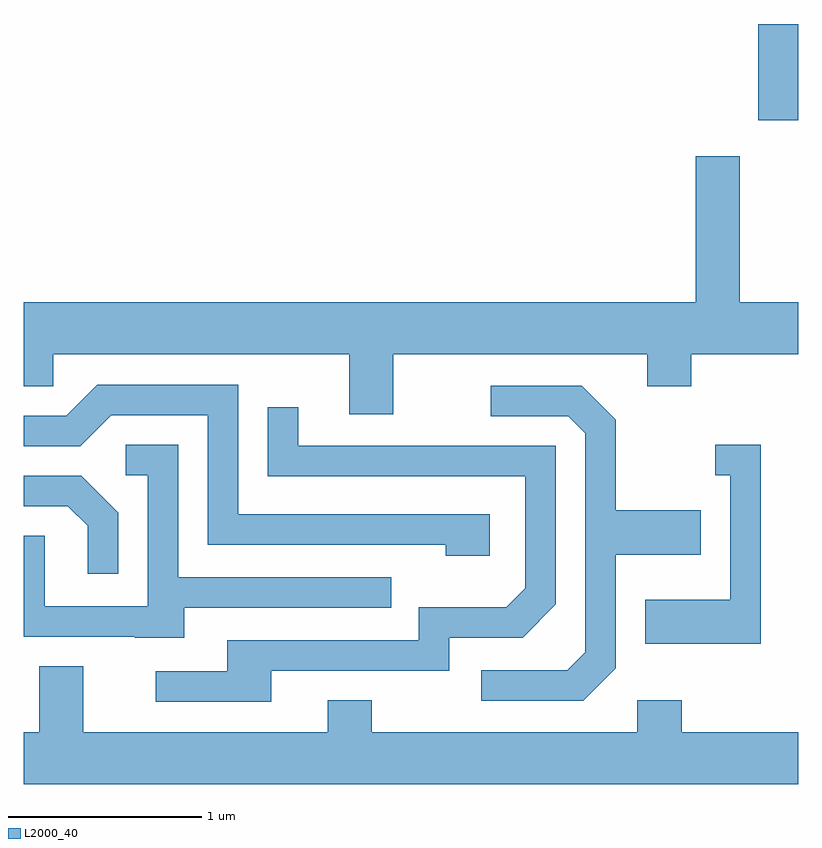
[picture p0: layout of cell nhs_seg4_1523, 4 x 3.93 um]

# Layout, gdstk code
import gdstk
lib = gdstk.Library(unit=1e-6, precision=1e-09)
def R(c, l, rs):  # rectangles x0, y0, x1, y1
    for r in rs: c.add(gdstk.rectangle(r[:2], r[2:], *l))
def P(c, l, *ps):  # polygons
    for p in ps: c.add(gdstk.Polygon(p, *l))
L2000_40 = (2000, 40)

nhs_seg4_1523 = lib.new_cell('nhs_seg4_1523')
R(nhs_seg4_1523, L2000_40, [(233.406,1311.486,233.611,1311.982)])
P(nhs_seg4_1523, L2000_40, [(231.519,1310.276),(232.831,1310.276),(232.831,1310.111),(233.059,1310.111),(233.059,1310.276),(233.611,1310.276),(233.611,1310.544),(233.309,1310.544),(233.309,1311.299),(233.081,1311.299),(233.081,1310.544),(229.611,1310.544),(229.611,1310.111),(229.764,1310.111),(229.764,1310.276),(231.291,1310.276),(231.291,1309.966),(231.519,1309.966)],
  [(232.019,1309.449),(230.719,1309.449),(230.719,1310.119),(229.989,1310.119),(229.829,1309.959),(229.611,1309.959),(229.611,1309.801),(229.902,1309.801),(230.062,1309.961),(230.561,1309.961),(230.561,1309.291),(231.791,1309.291),(231.791,1309.236),(232.019,1309.236)],
  [(232.669,1308.654),(232.669,1309.241),(233.109,1309.241),(233.109,1309.469),(232.669,1309.469),(232.669,1309.937),(232.492,1310.114),(232.023,1310.114),(232.023,1309.956),(232.424,1309.956),(232.511,1309.869),(232.511,1308.737),(232.419,1308.644),(231.973,1308.644),(231.973,1308.486),(232.502,1308.486)],
  [(230.889,1308.641),(231.809,1308.641),(231.809,1308.811),(232.187,1308.811),(232.359,1308.984),(232.359,1309.804),(231.029,1309.804),(231.029,1310.003),(230.871,1310.003),(230.871,1309.646),(232.201,1309.646),(232.201,1309.067),(232.104,1308.969),(231.651,1308.969),(231.651,1308.799),(230.661,1308.799),(230.661,1308.639),(230.293,1308.639),(230.293,1308.481),(230.889,1308.481)],
  [(233.419,1309.809),(233.183,1309.809),(233.183,1309.651),(233.261,1309.651),(233.261,1309.009),(232.821,1309.009),(232.821,1308.781),(233.419,1308.781)],
  [(230.439,1308.966),(231.508,1308.966),(231.508,1309.124),(230.409,1309.124),(230.409,1309.809),(230.138,1309.809),(230.138,1309.651),(230.251,1309.651),(230.251,1308.974),(229.719,1308.974),(229.719,1309.339),(229.611,1309.339),(229.611,1308.816),(230.185,1308.816),(230.185,1308.811),(230.439,1308.811)],
  [(230.099,1309.457),(229.907,1309.649),(229.611,1309.649),(229.611,1309.491),(229.839,1309.491),(229.941,1309.389),(229.941,1309.143),(230.099,1309.143)],
  [(233.611,1308.324),(233.009,1308.324),(233.009,1308.489),(232.781,1308.489),(232.781,1308.324),(231.409,1308.324),(231.409,1308.489),(231.181,1308.489),(231.181,1308.324),(229.919,1308.324),(229.919,1308.664),(229.691,1308.664),(229.691,1308.324),(229.611,1308.324),(229.611,1308.056),(233.611,1308.056)])

lib.write_gds('nhs_seg4_1523.gds')
